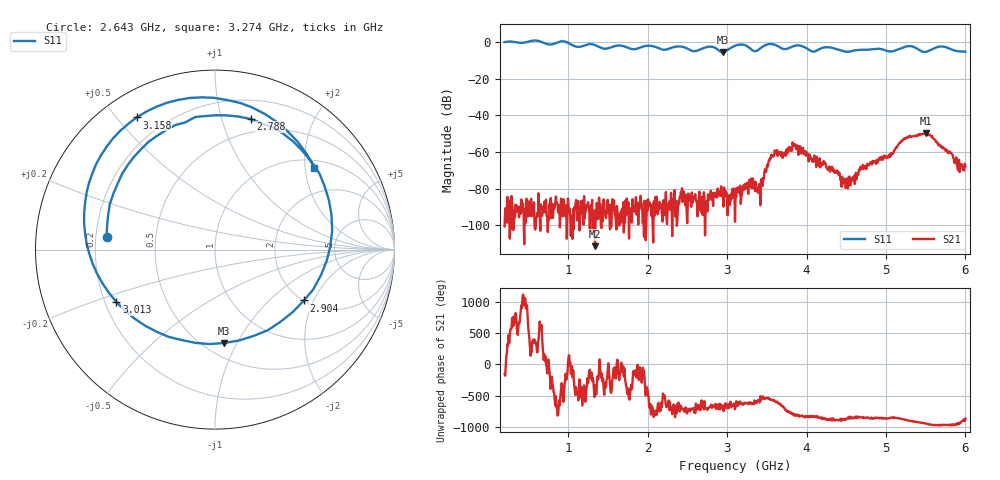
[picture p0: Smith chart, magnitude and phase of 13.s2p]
! NanoVNA-App by OneOfEleven et al v1.1.209 (+OD15)
! Date: 2024-07-30 15:18:08
! Start: 200MHz Stop: 6GHz Points: 801
! S-Parameter data: F S11 S21 S12 S22
# Hz S RI R 50
!  Frequency  S11_Real  S11_Imag  S21_Real  S21_Imag  S12_Real  S12_Imag  S22_Real  S22_Imag
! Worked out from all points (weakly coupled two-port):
!   801 points, 200 MHz to 6 GHz, reference 50 ohm
!   highest |S21| = -49.86 dB at 5.507 GHz (marker M1); lowest = -111.4 dB at 1.338 GHz (marker M2)
!   lowest |S11| = -5.6 dB at 2.948 GHz (marker M3), VSWR 3.19, Z = 31 - j44.4 ohm
!   |S11| at or under -10 dB: nowhere
!   S12 and S22 are empty: the file has one direction only
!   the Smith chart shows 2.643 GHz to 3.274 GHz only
!   S11 on the Smith chart (normalised r, x): 2.643 GHz: 0.24, +0.05; 2.788 GHz: 0.37, +1.24; 2.904 GHz: 2.01, -1.69; 3.013 GHz: 0.25, -0.23; 3.158 GHz: 0.10, +0.57; 3.274 GHz: 1.19, +2.24
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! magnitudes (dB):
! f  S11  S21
! 200 MHz  0.0  -100.6
! 1.171 GHz  -2.3  -87.0
! 1.338 GHz  -1.6  -111.4
! 2.136 GHz  -3.3  -89.2
! 2.643 GHz  -4.3  -88.9
! 2.788 GHz  -2.4  -83.8
! 2.904 GHz  -4.9  -83.5
! 2.948 GHz  -5.6  -82.8
! 3.013 GHz  -4.1  -86.3
! 3.1 GHz  -2.0  -98.1
! 3.158 GHz  -1.4  -82.6
! 3.274 GHz  -2.9  -78.3
! 3.397 GHz  -4.1  -80.3
! 3.535 GHz  -1.0  -64.7
! 3.622 GHz  -1.8  -60.7
! 3.854 GHz  -1.9  -55.8
! 4.072 GHz  -5.1  -65.1
! 4.492 GHz  -5.2  -79.6
! 5.036 GHz  -5.0  -61.8
! 5.239 GHz  -2.6  -52.5
! 5.507 GHz  -5.3  -49.9
! 6 GHz  -5.2  -67.7
